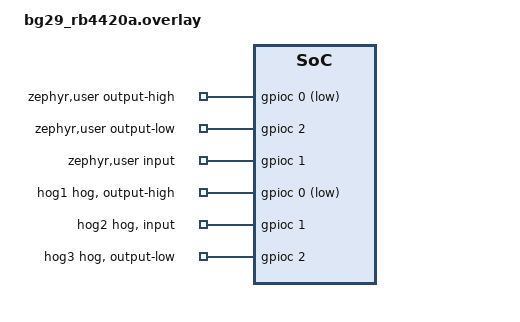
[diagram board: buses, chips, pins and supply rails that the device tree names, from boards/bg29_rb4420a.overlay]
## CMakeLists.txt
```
# SPDX-License-Identifier: Apache-2.0

cmake_minimum_required(VERSION 3.28.0)
find_package(Zephyr REQUIRED HINTS $ENV{ZEPHYR_BASE})
project(gpio_hogs)

FILE(GLOB app_sources src/*.c)
target_sources(app PRIVATE ${app_sources})
```

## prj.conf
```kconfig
CONFIG_ZTEST=y
CONFIG_GPIO=y
CONFIG_GPIO_GET_DIRECTION=y
CONFIG_GPIO_GET_CONFIG=y
```

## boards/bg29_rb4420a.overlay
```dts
/*
 * Copyright (c) 2025 Silicon Laboratories Inc.
 *
 * SPDX-License-Identifier: Apache-2.0
 */

/ {
	zephyr,user {
		output-high-gpios = <&gpioc 0 GPIO_ACTIVE_LOW>;
		output-low-gpios = <&gpioc 2 GPIO_ACTIVE_HIGH>;
		input-gpios = <&gpioc 1 GPIO_ACTIVE_HIGH>;
	};
};

&gpioc {
	hog1 {
		gpio-hog;
		gpios = <0 GPIO_ACTIVE_LOW>;
		output-high;
	};

	hog2 {
		gpio-hog;
		gpios = <1 GPIO_ACTIVE_HIGH>;
		input;
	};

	hog3 {
		gpio-hog;
		gpios = <2 GPIO_ACTIVE_HIGH>;
		output-low;
	};
};
```

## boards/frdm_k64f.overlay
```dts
/*
 * Copyright (c) 2023 Vestas Wind Systems A/S
 *
 * SPDX-License-Identifier: Apache-2.0
 */

#include <zephyr/dt-bindings/gpio/gpio.h>

/ {
	zephyr,user {
		output-high-gpios = <&gpioc 5 GPIO_ACTIVE_LOW>;
		output-low-gpios = <&gpiob 20 GPIO_ACTIVE_HIGH>;
		input-gpios = <&gpioc 7 GPIO_ACTIVE_HIGH>;
	};
};

&gpioc {
	hog1 {
		gpio-hog;
		gpios = <5 GPIO_ACTIVE_LOW>;
		output-high;
	};

	hog2 {
		gpio-hog;
		gpios = <7 GPIO_ACTIVE_HIGH>;
		input;
	};
};

&gpiob {
	hog3 {
		gpio-hog;
		gpios = <20 GPIO_ACTIVE_HIGH>;
		output-low;
	};
};
```

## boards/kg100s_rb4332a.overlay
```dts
/*
 * Copyright (c) 2026 Martin Moya <martin.moya@focus.uy>
 *
 * SPDX-License-Identifier: Apache-2.0
 */

/ {
	zephyr,user {
		output-high-gpios = <&gpioa 1 GPIO_ACTIVE_LOW>;
		output-low-gpios = <&gpioa 2 GPIO_ACTIVE_HIGH>;
		input-gpios = <&gpioa 4 GPIO_ACTIVE_HIGH>;
	};
};

&gpioa {
	hog1 {
		gpio-hog;
		gpios = <1 GPIO_ACTIVE_LOW>;
		output-high;
	};

	hog2 {
		gpio-hog;
		gpios = <2 GPIO_ACTIVE_HIGH>;
		output-low;
	};

	hog3 {
		gpio-hog;
		gpios = <4 GPIO_ACTIVE_HIGH>;
		input;
	};
};
```

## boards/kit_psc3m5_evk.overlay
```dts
/*
 * SPDX-FileCopyrightText: Copyright (c) 2026 Infineon Technologies AG,
 * SPDX-FileCopyrightText: or an affiliate of Infineon Technologies AG. All rights reserved.
 *
 * SPDX-License-Identifier: Apache-2.0
 */

#include <zephyr/dt-bindings/gpio/gpio.h>

/ {
	zephyr,user {
		output-high-gpios = <&gpio_prt8 5 GPIO_ACTIVE_LOW>;
		output-low-gpios = <&gpio_prt8 4 GPIO_ACTIVE_HIGH>;
		input-gpios = <&gpio_prt5 0 GPIO_ACTIVE_HIGH>;
	};
};

&gpio_prt8 {
	hog1 {
		gpio-hog;
		gpios = <5 GPIO_ACTIVE_LOW>;
		output-high;
	};

	hog3 {
		gpio-hog;
		gpios = <4 GPIO_ACTIVE_HIGH>;
		output-low;
	};
};

&gpio_prt5 {
	hog2 {
		gpio-hog;
		gpios = <0 GPIO_ACTIVE_HIGH>;
		input;
	};
};
```

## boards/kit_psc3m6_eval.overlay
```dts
/*
 * SPDX-FileCopyrightText: Copyright (c) 2026 Infineon Technologies AG,
 * SPDX-FileCopyrightText: or an affiliate of Infineon Technologies AG. All rights reserved.
 *
 * SPDX-License-Identifier: Apache-2.0
 */

#include <zephyr/dt-bindings/gpio/gpio.h>

/ {
	zephyr,user {
		output-high-gpios = <&gpio_prt8 4 GPIO_ACTIVE_LOW>;
		output-low-gpios = <&gpio_prt8 5 GPIO_ACTIVE_HIGH>;
		input-gpios = <&gpio_prt10 2 GPIO_ACTIVE_HIGH>;
	};
};

&gpio_prt8 {
	hog1 {
		gpio-hog;
		gpios = <4 GPIO_ACTIVE_LOW>;
		output-high;
	};

	hog3 {
		gpio-hog;
		gpios = <5 GPIO_ACTIVE_HIGH>;
		output-low;
	};
};

&gpio_prt10 {
	hog2 {
		gpio-hog;
		gpios = <2 GPIO_ACTIVE_HIGH>;
		input;
	};
};
```

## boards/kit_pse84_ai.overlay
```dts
/*
 * SPDX-FileCopyrightText: Copyright (c) 2026 Infineon Technologies AG,
 * SPDX-FileCopyrightText: or an affiliate of Infineon Technologies AG. All rights reserved.
 *
 * SPDX-License-Identifier: Apache-2.0
 */

#include <zephyr/dt-bindings/gpio/gpio.h>

/ {
	zephyr,user {
		output-high-gpios = <&gpio_prt10 7 GPIO_ACTIVE_LOW>;
		output-low-gpios = <&gpio_prt10 5 GPIO_ACTIVE_HIGH>;
		input-gpios = <&gpio_prt7 0 GPIO_ACTIVE_HIGH>;
	};
};

&gpio_prt10 {
	hog1 {
		gpio-hog;
		gpios = <7 GPIO_ACTIVE_LOW>;
		output-high;
	};

	hog3 {
		gpio-hog;
		gpios = <5 GPIO_ACTIVE_HIGH>;
		output-low;
	};
};

&gpio_prt7 {
	hog2 {
		gpio-hog;
		gpios = <0 GPIO_ACTIVE_HIGH>;
		input;
	};
};
```

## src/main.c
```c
/*
 * Copyright (c) 2023 Vestas Wind Systems A/S
 *
 * SPDX-License-Identifier: Apache-2.0
 */

#include <zephyr/drivers/gpio.h>
#include <zephyr/ztest.h>

#define ZEPHYR_USER_NODE DT_PATH(zephyr_user)

const struct gpio_dt_spec output_high_gpio =
	GPIO_DT_SPEC_GET_OR(ZEPHYR_USER_NODE, output_high_gpios, {0});
const struct gpio_dt_spec output_low_gpio =
	GPIO_DT_SPEC_GET_OR(ZEPHYR_USER_NODE, output_low_gpios, {0});
const struct gpio_dt_spec input_gpio =
	GPIO_DT_SPEC_GET_OR(ZEPHYR_USER_NODE, input_gpios, {0});

static void assert_gpio_hog_direction(const struct gpio_dt_spec *spec, bool output)
{
	int err;

	if (spec->port == NULL) {
		ztest_test_skip();
	}

	if (output) {
		err = gpio_pin_is_output(spec->port, spec->pin);
	} else {
		err = gpio_pin_is_input(spec->port, spec->pin);
	}

	if (err == -ENOSYS) {
		ztest_test_skip();
	}

	zassert_equal(err, 1, "GPIO hog %s pin %d not configured as %s",
		      spec->port->name, spec->pin,
		      output ? "output" : "input");
}

ZTEST(gpio_hogs, test_gpio_hog_output_high_direction)
{
	assert_gpio_hog_direction(&output_high_gpio, true);
}

ZTEST(gpio_hogs, test_gpio_hog_output_low_direction)
{
	assert_gpio_hog_direction(&output_low_gpio, true);
}

ZTEST(gpio_hogs, test_gpio_hog_input_direction)
{
	assert_gpio_hog_direction(&input_gpio, false);
}

static void assert_gpio_hog_config(const struct gpio_dt_spec *spec, gpio_flags_t expected)
{
	gpio_flags_t actual;
	int err;

	if (spec->port == NULL) {
		ztest_test_skip();
	}

	err = gpio_pin_get_config_dt(spec, &actual);
	if (err == -ENOSYS) {
		ztest_test_skip();
	}

	zassert_equal(err, 0, "failed to get config for GPIO hog %s, pin %d (err %d)",
		      spec->port->name, spec->pin, err);
	zassert_equal(actual & expected, expected,
		      "GPIO hog %s, pin %d flags not set (0x%08x vs. 0x%08x)",
		      spec->port->name, spec->pin, actual, expected);
}

ZTEST(gpio_hogs, test_gpio_hog_output_high_config)
{
	gpio_flags_t expected = GPIO_OUTPUT;

	if ((output_high_gpio.dt_flags & GPIO_ACTIVE_LOW) != 0) {
		expected |= GPIO_OUTPUT_INIT_LOW;
	} else {
		expected |= GPIO_OUTPUT_INIT_HIGH;
	}

	assert_gpio_hog_config(&output_high_gpio, expected);
}

ZTEST(gpio_hogs, test_gpio_hog_output_low_config)
{
	gpio_flags_t expected = GPIO_OUTPUT;

	if ((output_low_gpio.dt_flags & GPIO_ACTIVE_LOW) == 0) {
		expected |= GPIO_OUTPUT_INIT_LOW;
	} else {
		expected |= GPIO_OUTPUT_INIT_HIGH;
	}

	assert_gpio_hog_config(&output_low_gpio, expected);
}

ZTEST(gpio_hogs, test_gpio_hog_input_config)
{
	assert_gpio_hog_config(&input_gpio, GPIO_INPUT);
}

ZTEST_SUITE(gpio_hogs, NULL, NULL, NULL, NULL, NULL);
```

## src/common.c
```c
/*
 * Copyright 2023 Google, LLC
 *
 * SPDX-License-Identifier: Apache-2.0
 */

#include <zephyr/drivers/gpio.h>
#include <zephyr/ztest.h>
#include <zephyr/logging/log.h>

LOG_MODULE_REGISTER(test_gpio_hogs, CONFIG_GPIO_LOG_LEVEL);

void assert_gpio_hog_direction(const struct gpio_dt_spec *spec, bool output)
{
	int err;

	if (spec->port == NULL) {
		ztest_test_skip();
	}

	if (output) {
		err = gpio_pin_is_output(spec->port, spec->pin);
	} else {
		err = gpio_pin_is_input(spec->port, spec->pin);
	}

	if (err == -ENOSYS) {
		ztest_test_skip();
	}

	zassert_equal(err, 1, "GPIO hog %s pin %d not configured as %s",
		      spec->port->name, spec->pin,
		      output ? "output" : "input");
}

void assert_gpio_hog_config(const struct gpio_dt_spec *spec, gpio_flags_t expected)
{
	gpio_flags_t actual;
	int err;

	if (spec->port == NULL) {
		ztest_test_skip();
	}

	err = gpio_pin_get_config_dt(spec, &actual);
	if (err == -ENOSYS) {
		ztest_test_skip();
	}

	LOG_INF("Get config: Pin %d, flags 0x%08x",
		spec->pin, actual);
	if (actual & GPIO_OUTPUT) {
		LOG_INF("    level = %s", actual & GPIO_OUTPUT_INIT_HIGH ? "HIGH" : "low");
	}

	zassert_equal(err, 0, "failed to get config for GPIO hog %s, pin %d (err %d)",
		      spec->port->name, spec->pin, err);
	zassert_equal(actual & expected, expected,
		      "GPIO hog %s, pin %d flags not set (0x%08x vs. 0x%08x)",
		      spec->port->name, spec->pin, actual, expected);
}
```

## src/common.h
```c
/*
 * Copyright 2023 Google, LLC
 *
 * SPDX-License-Identifier: Apache-2.0
 */

#ifndef ZEPHYR_TEST_DRIVERS_GPIO_GPIO_HOGS_COMMON_H_
#define ZEPHYR_TEST_DRIVERS_GPIO_GPIO_HOGS_COMMON_H_

#include <zephyr/drivers/gpio.h>

void assert_gpio_hog_direction(const struct gpio_dt_spec *spec, bool output);
void assert_gpio_hog_config(const struct gpio_dt_spec *spec, gpio_flags_t expected);

#endif /* ZEPHYR_TEST_DRIVERS_GPIO_GPIO_HOGS_COMMON_H_ */
```

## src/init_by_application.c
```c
/*
 * Copyright 2023 Google, LLC
 *
 * SPDX-License-Identifier: Apache-2.0
 */

#include "common.h"

#include <zephyr/drivers/gpio.h>
#include <zephyr/ztest.h>
#include <zephyr/logging/log.h>

#define ZEPHYR_USER_NODE DT_PATH(zephyr_user)

#define GPIO_MASK_NO_OUTPUT \
	GPIO_FLAGS_ALL & \
        ~(GPIO_OUTPUT_INIT_LOW | GPIO_OUTPUT_INIT_HIGH | GPIO_OUTPUT_INIT_LOGICAL)

const struct gpio_dt_spec output_high_gpio_specs[] = {
	DT_FOREACH_PROP_ELEM_SEP(ZEPHYR_USER_NODE, output_high_gpios,
				 GPIO_DT_SPEC_GET_BY_IDX, (,))
};
const struct gpio_dt_spec input_gpio =
	GPIO_DT_SPEC_GET_OR(ZEPHYR_USER_NODE, input_gpios, {0});

/*
 * @brief Verify that the GPIO hogs driver did not automatically configure
 * any GPIO pins when CONFIG_GPIO_HOGS_INITIALIZE_BY_APPLICATION=y.
 */
ZTEST(gpio_hogs_init_by_app, test_gpio_hogs_not_configured)
{
	const struct gpio_dt_spec *spec;
	int err;

	for (int i = 0; i < ARRAY_SIZE(output_high_gpio_specs); i++) {
		spec = &output_high_gpio_specs[i];

		err = gpio_pin_is_output(spec->port, spec->pin);

		if (err == -ENOSYS) {
			ztest_test_skip();
		}

		zassert_equal(err, 0, "GPIO hog %s pin %d configured as output, but should not be",
			spec->port->name, spec->pin);
	}

	err = gpio_pin_is_input(input_gpio.port, spec->pin);
	zassert_equal(err, 0, "GPIO hog %s pin %d configured as input, but should not be",
		spec->port->name, spec->pin);
}

/*
 * @brief Verify that the GPIO hogs driver respects the mask parameter.
 */
ZTEST(gpio_hogs_init_by_app, test_masked_output_level)
{
	gpio_flags_t expected;
	const struct gpio_dt_spec *spec;

	gpio_hogs_configure(NULL, GPIO_MASK_NO_OUTPUT);

	for (int i = 0; i < ARRAY_SIZE(output_high_gpio_specs); i++) {
		spec = &output_high_gpio_specs[i];

		/* GPIO pin state should always by low when applying the GPIO_OUTPUT_INIT_MASK */
		expected = GPIO_OUTPUT | GPIO_OUTPUT_INIT_LOW;

		assert_gpio_hog_config(spec, expected);
	}
}

/*
 * @brief Verify that the GPIO hogs driver respects the port parameter.
 */
#if 0
// FIXME - need to add another GPIO port to the overlay
ZTEST(gpio_hogs_init_by_app, test_gpio_port)
{
	gpio_flags_t expected;
	const struct gpio_dt_spec *spec;

	gpio_hogs_configure(GPIO_MASK_NO_OUTPUT);

	for (int i = 0; i < ARRAY_SIZE(output_high_gpio_specs); i++) {
		spec = &output_high_gpio_specs[i];

		/* GPIO pin state should always by low when applying the GPIO_OUTPUT_INIT_MASK */
		expected = GPIO_OUTPUT | GPIO_OUTPUT_INIT_LOW;

		assert_gpio_hog_config(spec, expected);
	}
}
#endif

ZTEST_SUITE(gpio_hogs_init_by_app, NULL, NULL, NULL, NULL, NULL);
```
